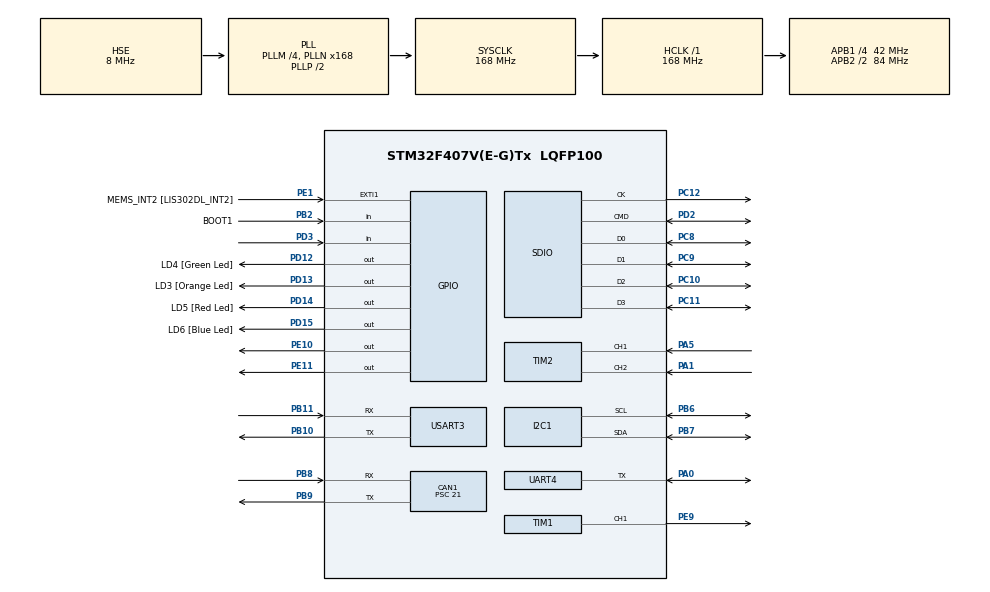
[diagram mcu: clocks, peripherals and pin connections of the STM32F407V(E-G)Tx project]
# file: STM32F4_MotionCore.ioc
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CAN1.ABOM=ENABLE
CAN1.BS1=CAN_BS1_13TQ
CAN1.BS2=CAN_BS2_2TQ
CAN1.CalculateBaudRate=125000
CAN1.CalculateTimeBit=8000
CAN1.CalculateTimeQuantum=500.0
CAN1.Mode=CAN_MODE_NORMAL
CAN1.NART=ENABLE
CAN1.Prescaler=21
Dma.I2C1_RX.5.Direction=DMA_PERIPH_TO_MEMORY
Dma.I2C1_RX.5.FIFOMode=DMA_FIFOMODE_DISABLE
Dma.I2C1_RX.5.Instance=DMA1_Stream0
Dma.I2C1_RX.5.MemDataAlignment=DMA_MDATAALIGN_BYTE
Dma.I2C1_RX.5.MemInc=DMA_MINC_ENABLE
Dma.I2C1_RX.5.Mode=DMA_NORMAL
Dma.I2C1_RX.5.PeriphDataAlignment=DMA_PDATAALIGN_BYTE
Dma.I2C1_RX.5.PeriphInc=DMA_PINC_DISABLE
Dma.I2C1_RX.5.Priority=DMA_PRIORITY_LOW
Dma.I2C1_TX.4.Direction=DMA_MEMORY_TO_PERIPH
Dma.I2C1_TX.4.FIFOMode=DMA_FIFOMODE_DISABLE
Dma.I2C1_TX.4.Instance=DMA1_Stream7
Dma.I2C1_TX.4.MemDataAlignment=DMA_MDATAALIGN_BYTE
Dma.I2C1_TX.4.MemInc=DMA_MINC_ENABLE
Dma.I2C1_TX.4.Mode=DMA_NORMAL
Dma.I2C1_TX.4.PeriphDataAlignment=DMA_PDATAALIGN_BYTE
Dma.I2C1_TX.4.PeriphInc=DMA_PINC_DISABLE
Dma.I2C1_TX.4.Priority=DMA_PRIORITY_LOW
Dma.Request0=SDIO_TX
Dma.Request1=SDIO_RX
Dma.Request2=USART3_TX
Dma.Request3=USART3_RX
Dma.Request4=I2C1_TX
Dma.Request5=I2C1_RX
Dma.Request6=UART4_TX
Dma.Request7=UART4_RX
Dma.SDIO_RX.1.Direction=DMA_PERIPH_TO_MEMORY
Dma.SDIO_RX.1.FIFOMode=DMA_FIFOMODE_ENABLE
Dma.SDIO_RX.1.FIFOThreshold=DMA_FIFO_THRESHOLD_FULL
Dma.SDIO_RX.1.Instance=DMA2_Stream6
Dma.SDIO_RX.1.MemBurst=DMA_MBURST_INC4
Dma.SDIO_RX.1.MemDataAlignment=DMA_MDATAALIGN_WORD
Dma.SDIO_RX.1.MemInc=DMA_MINC_ENABLE
Dma.SDIO_RX.1.Mode=DMA_PFCTRL
Dma.SDIO_RX.1.PeriphBurst=DMA_PBURST_INC4
Dma.SDIO_RX.1.PeriphDataAlignment=DMA_PDATAALIGN_WORD
Dma.SDIO_RX.1.PeriphInc=DMA_PINC_DISABLE
Dma.SDIO_RX.1.Priority=DMA_PRIORITY_LOW
Dma.SDIO_TX.0.Direction=DMA_MEMORY_TO_PERIPH
Dma.SDIO_TX.0.FIFOMode=DMA_FIFOMODE_ENABLE
Dma.SDIO_TX.0.FIFOThreshold=DMA_FIFO_THRESHOLD_FULL
Dma.SDIO_TX.0.Instance=DMA2_Stream3
Dma.SDIO_TX.0.MemBurst=DMA_MBURST_INC4
Dma.SDIO_TX.0.MemDataAlignment=DMA_MDATAALIGN_WORD
Dma.SDIO_TX.0.MemInc=DMA_MINC_ENABLE
Dma.SDIO_TX.0.Mode=DMA_PFCTRL
Dma.SDIO_TX.0.PeriphBurst=DMA_PBURST_INC4
Dma.SDIO_TX.0.PeriphDataAlignment=DMA_PDATAALIGN_WORD
Dma.SDIO_TX.0.PeriphInc=DMA_PINC_DISABLE
Dma.SDIO_TX.0.Priority=DMA_PRIORITY_LOW
Dma.UART4_RX.7.Direction=DMA_PERIPH_TO_MEMORY
Dma.UART4_RX.7.FIFOMode=DMA_FIFOMODE_DISABLE
Dma.UART4_RX.7.Instance=DMA1_Stream2
Dma.UART4_RX.7.MemDataAlignment=DMA_MDATAALIGN_BYTE
Dma.UART4_RX.7.MemInc=DMA_MINC_ENABLE
Dma.UART4_RX.7.Mode=DMA_NORMAL
Dma.UART4_RX.7.PeriphDataAlignment=DMA_PDATAALIGN_BYTE
Dma.UART4_RX.7.PeriphInc=DMA_PINC_DISABLE
Dma.UART4_RX.7.Priority=DMA_PRIORITY_LOW
Dma.UART4_TX.6.Direction=DMA_MEMORY_TO_PERIPH
Dma.UART4_TX.6.FIFOMode=DMA_FIFOMODE_DISABLE
Dma.UART4_TX.6.Instance=DMA1_Stream4
Dma.UART4_TX.6.MemDataAlignment=DMA_MDATAALIGN_BYTE
Dma.UART4_TX.6.MemInc=DMA_MINC_ENABLE
Dma.UART4_TX.6.Mode=DMA_NORMAL
Dma.UART4_TX.6.PeriphDataAlignment=DMA_PDATAALIGN_BYTE
Dma.UART4_TX.6.PeriphInc=DMA_PINC_DISABLE
Dma.UART4_TX.6.Priority=DMA_PRIORITY_LOW
Dma.USART3_RX.3.Direction=DMA_PERIPH_TO_MEMORY
Dma.USART3_RX.3.FIFOMode=DMA_FIFOMODE_DISABLE
Dma.USART3_RX.3.Instance=DMA1_Stream1
Dma.USART3_RX.3.MemDataAlignment=DMA_MDATAALIGN_BYTE
Dma.USART3_RX.3.MemInc=DMA_MINC_ENABLE
Dma.USART3_RX.3.Mode=DMA_NORMAL
Dma.USART3_RX.3.PeriphDataAlignment=DMA_PDATAALIGN_BYTE
Dma.USART3_RX.3.PeriphInc=DMA_PINC_DISABLE
Dma.USART3_RX.3.Priority=DMA_PRIORITY_LOW
Dma.USART3_TX.2.Direction=DMA_MEMORY_TO_PERIPH
Dma.USART3_TX.2.FIFOMode=DMA_FIFOMODE_DISABLE
Dma.USART3_TX.2.Instance=DMA1_Stream3
Dma.USART3_TX.2.MemDataAlignment=DMA_MDATAALIGN_BYTE
Dma.USART3_TX.2.MemInc=DMA_MINC_ENABLE
Dma.USART3_TX.2.Mode=DMA_NORMAL
Dma.USART3_TX.2.PeriphDataAlignment=DMA_PDATAALIGN_BYTE
Dma.USART3_TX.2.PeriphInc=DMA_PINC_DISABLE
Dma.USART3_TX.2.Priority=DMA_PRIORITY_LOW
IWDG.Prescaler=IWDG_PRESCALER_8
IWDG.Reload=4000
Mcu.Family=STM32F4
Mcu.Name=STM32F407V(E-G)Tx
Mcu.Package=LQFP100
NVIC.CAN1_RX0_IRQn=true\:6\:0\:true\:false\:true\:true\:true\:true
NVIC.CAN1_SCE_IRQn=true\:6\:0\:true\:false\:true\:true\:true\:true
NVIC.CAN1_TX_IRQn=true\:6\:0\:true\:false\:true\:true\:true\:true
NVIC.DMA1_Stream0_IRQn=true\:5\:0\:true\:false\:true\:false\:true\:true
NVIC.DMA1_Stream1_IRQn=true\:7\:0\:true\:false\:true\:false\:true\:true
NVIC.DMA1_Stream2_IRQn=true\:5\:0\:true\:false\:true\:false\:true\:true
NVIC.DMA1_Stream3_IRQn=true\:7\:0\:true\:false\:true\:false\:true\:true
NVIC.DMA1_Stream4_IRQn=true\:5\:0\:true\:false\:true\:false\:true\:true
NVIC.DMA1_Stream7_IRQn=true\:5\:0\:true\:false\:true\:false\:true\:true
NVIC.DMA2_Stream3_IRQn=true\:6\:0\:true\:false\:true\:false\:true\:true
NVIC.DMA2_Stream6_IRQn=true\:6\:0\:true\:false\:true\:false\:true\:true
NVIC.FPU_IRQn=true\:6\:0\:true\:false\:true\:true\:false\:true
NVIC.I2C1_ER_IRQn=true\:5\:0\:true\:false\:true\:true\:true\:true
NVIC.I2C1_EV_IRQn=true\:5\:0\:true\:false\:true\:true\:true\:true
NVIC.PriorityGroup=NVIC_PRIORITYGROUP_4
NVIC.SDIO_IRQn=true\:7\:0\:true\:false\:true\:true\:true\:true
NVIC.TIM6_DAC_IRQn=true\:6\:0\:true\:false\:true\:false\:true\:true
NVIC.TimeBase=TIM6_DAC_IRQn
NVIC.TimeBaseIP=TIM6
NVIC.UART4_IRQn=true\:5\:0\:true\:false\:true\:true\:true\:true
NVIC.USART3_IRQn=true\:7\:0\:true\:false\:true\:true\:true\:true
PA0-WKUP.GPIO_ModeDefaultOD=GPIO_MODE_AF_OD
PA0-WKUP.GPIO_ModeDefaultPP=GPIO_MODE_AF_OD
PA0-WKUP.GPIO_PuPd=GPIO_PULLUP
PA0-WKUP.Mode=Half_duplex(single_wire_mode)
PA0-WKUP.Signal=UART4_TX
PA1.Signal=S_TIM2_CH2
PA13.GPIO_Label=SWDIO
PA13.Mode=Serial_Wire
PA13.Signal=SYS_JTMS-SWDIO
PA14.GPIO_Label=SWCLK
PA14.Mode=Serial_Wire
PA14.Signal=SYS_JTCK-SWCLK
PA5.Signal=S_TIM2_CH1_ETR
PB10.Mode=Asynchronous
PB10.Signal=USART3_TX
PB11.Mode=Asynchronous
PB11.Signal=USART3_RX
PB2.GPIO_Label=BOOT1
PB2.GPIO_Mode=GPIO_MODE_INPUT
PB2.GPIO_PuPd=GPIO_NOPULL
PB2.Signal=GPIO_Input
PB6.Mode=I2C
PB6.Signal=I2C1_SCL
PB7.Mode=I2C
PB7.Signal=I2C1_SDA
PB8.GPIO_PuPd=GPIO_NOPULL
PB8.Mode=CAN_Activate
PB8.Signal=CAN1_RX
PB9.Mode=CAN_Activate
PB9.Signal=CAN1_TX
PC10.Mode=SD_4_bits_Wide_bus
PC10.Signal=SDIO_D2
PC11.Mode=SD_4_bits_Wide_bus
PC11.Signal=SDIO_D3
PC12.Mode=SD_4_bits_Wide_bus
PC12.Signal=SDIO_CK
PC8.GPIO_PuPd=GPIO_NOPULL
PC8.Mode=SD_4_bits_Wide_bus
PC8.Signal=SDIO_D0
PC9.Mode=SD_4_bits_Wide_bus
PC9.Signal=SDIO_D1
PD12.GPIO_Label=LD4 [Green Led]
PD12.GPIO_PuPd=GPIO_NOPULL
PD12.GPIO_Speed=GPIO_SPEED_FREQ_LOW
PD12.Signal=GPIO_Output
PD13.GPIO_Label=LD3 [Orange Led]
PD13.GPIO_PuPd=GPIO_NOPULL
PD13.GPIO_Speed=GPIO_SPEED_FREQ_LOW
PD13.Signal=GPIO_Output
PD14.GPIO_Label=LD5 [Red Led]
PD14.GPIO_PuPd=GPIO_NOPULL
PD14.GPIO_Speed=GPIO_SPEED_FREQ_LOW
PD14.Signal=GPIO_Output
PD15.GPIO_Label=LD6 [Blue Led]
PD15.GPIO_PuPd=GPIO_NOPULL
PD15.GPIO_Speed=GPIO_SPEED_FREQ_LOW
PD15.Signal=GPIO_Output
PD2.GPIO_PuPd=GPIO_NOPULL
PD2.Mode=SD_4_bits_Wide_bus
PD2.Signal=SDIO_CMD
PD3.Signal=GPIO_Input
PE1.GPIO_Label=MEMS_INT2 [LIS302DL_INT2]
PE1.GPIO_ModeDefaultEXTI=GPIO_MODE_EVT_RISING
PE1.GPIO_PuPd=GPIO_NOPULL
PE1.Signal=GPXTI1
PE10.Signal=GPIO_Output
PE11.Signal=GPIO_Output
PE9.Signal=S_TIM1_CH1
PH0-OSC_IN.Mode=HSE-External-Oscillator
PH0-OSC_IN.Signal=RCC_OSC_IN
PH1-OSC_OUT.Mode=HSE-External-Oscillator
PH1-OSC_OUT.Signal=RCC_OSC_OUT
ProjectManager.HeapSize=0x400
ProjectManager.StackSize=0x800
ProjectManager.TargetToolchain=STM32CubeIDE
RCC.48MHZClocksFreq_Value=48000000
RCC.AHBFreq_Value=168000000
RCC.APB1CLKDivider=RCC_HCLK_DIV4
RCC.APB1Freq_Value=42000000
RCC.APB1TimFreq_Value=84000000
RCC.APB2CLKDivider=RCC_HCLK_DIV2
RCC.APB2Freq_Value=84000000
RCC.APB2TimFreq_Value=168000000
RCC.CortexFreq_Value=168000000
RCC.HCLKFreq_Value=168000000
RCC.HSE_VALUE=8000000
RCC.HSI_VALUE=16000000
RCC.LSE_VALUE=32768
RCC.PLLM=4
RCC.PLLN=168
RCC.PLLQ=7
RCC.PLLSourceVirtual=RCC_PLLSOURCE_HSE
RCC.RCC_MCO1Source=RCC_MCO1SOURCE_PLLCLK
RCC.RCC_RTC_Clock_Source=RCC_RTCCLKSOURCE_LSI
RCC.RCC_RTC_Clock_SourceVirtual=RCC_RTCCLKSOURCE_LSE
RCC.RCC_RTC_Clock_Source_FROM_HSE=RCC_RTCCLKSOURCE_HSE_DIV31
RCC.SYSCLKFreq_VALUE=168000000
RCC.SYSCLKSource=RCC_SYSCLKSOURCE_PLLCLK
RCC.VCOOutputFreq_Value=336000000
RTC.Format=RTC_FORMAT_BIN
SDIO.ClockDiv=0
SH.S_TIM1_CH1.0=TIM1_CH1,PWM Generation1 CH1
SH.S_TIM2_CH1_ETR.0=TIM2_CH1,Encoder_Interface
SH.S_TIM2_CH2.0=TIM2_CH2,Encoder_Interface
TIM1.Channel-PWM\ Generation1\ CH1=TIM_CHANNEL_1
TIM1.Period=8399
UART4.VirtualMode=Asynchronous
USART3.VirtualMode=VM_ASYNC
VP_IWDG_VS_IWDG.Mode=IWDG_Activate
VP_RTC_VS_RTC_Activate.Mode=RTC_Enabled
VP_RTC_VS_RTC_Calendar.Mode=RTC_Calendar
VP_SYS_VS_tim6.Mode=TIM6
VP_TIM1_VS_ClockSourceINT.Mode=Internal
board=STM32F407G-DISC1

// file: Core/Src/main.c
/* USER CODE BEGIN Header */
/**
 ******************************************************************************
 * @file           : main.c
 * @brief          : Main program body
 ******************************************************************************
 * @attention
 *
 * Copyright (c) 2026 STMicroelectronics.
 * All rights reserved.
 *
 * This software is licensed under terms that can be found in the LICENSE file
 * in the root directory of this software component.
 * If no LICENSE file comes with this software, it is provided AS-IS.
 *
 ******************************************************************************
 */
/* USER CODE END Header */
#include "main.h"

CAN_HandleTypeDef hcan1;

I2C_HandleTypeDef hi2c1;
DMA_HandleTypeDef hdma_i2c1_tx;
DMA_HandleTypeDef hdma_i2c1_rx;

IWDG_HandleTypeDef hiwdg;

RTC_HandleTypeDef hrtc;

SD_HandleTypeDef hsd;
DMA_HandleTypeDef hdma_sdio_tx;
DMA_HandleTypeDef hdma_sdio_rx;

TIM_HandleTypeDef htim1;
TIM_HandleTypeDef htim2;

UART_HandleTypeDef huart4;
UART_HandleTypeDef huart3;
DMA_HandleTypeDef hdma_uart4_tx;
DMA_HandleTypeDef hdma_uart4_rx;
DMA_HandleTypeDef hdma_usart3_tx;
DMA_HandleTypeDef hdma_usart3_rx;

void SystemClock_Config(void);
static void MX_GPIO_Init(void);
static void MX_DMA_Init(void);
static void MX_SDIO_SD_Init(void);
static void MX_USART3_UART_Init(void);
static void MX_I2C1_Init(void);
static void MX_UART4_Init(void);
static void MX_RTC_Init(void);
static void MX_IWDG_Init(void);
static void MX_TIM1_Init(void);
static void MX_CAN1_Init(void);
static void MX_TIM2_Init(void);

/* USER CODE BEGIN 0 */

/* DWT to control DWT cycle buffer, which need for SEGGER  */
#define DWT_CTRL (*(volatile uint32_t*)0xE0001000)

/* USER CODE END 0 */

int main(void)
{

  /* MCU Configuration--------------------------------------------------------*/

  /* Reset of all peripherals, Initializes the Flash interface and the Systick. */
  HAL_Init();

  /* USER CODE BEGIN Init */

  /* Set for SEGGER proper work */
  NVIC_SetPriorityGrouping(0);

  /* USER CODE END Init */

  /* Configure the system clock */
  SystemClock_Config();

  /* Initialize all configured peripherals */
  MX_GPIO_Init();
  MX_DMA_Init();
  MX_SDIO_SD_Init();
  MX_USART3_UART_Init();
  MX_I2C1_Init();
  MX_UART4_Init();
  MX_RTC_Init();
 // MX_IWDG_Init();
  MX_TIM1_Init();
  MX_CAN1_Init();
  MX_TIM2_Init();
  /* USER CODE BEGIN 2 */

	/* Set one to enable DWT cycle buffer which is necessary for SEGGER */
	DWT_CTRL |= (1 << 0);
	CoreDebug->DEMCR |= CoreDebug_DEMCR_TRCENA_Msk;
	DWT->CTRL |= DWT_CTRL_CYCCNTENA_Msk;

	HAL_Delay(500);

	AppHardwareConfig_t app_hw =
	{
		.phsd = &hsd,
		.phuart3 = &huart3,
		.phuart4 = &huart4,
		.phi2c1 = &hi2c1,
		.phiwdg = &hiwdg,
		.prtc = &hrtc,
		.ptim1 = &htim1,
		.ptim2 = &htim2,
		.pcan1 = &hcan1
	};

	APP_Main(&app_hw);

  /* USER CODE END 2 */

  /* Infinite loop */
	while (1) {

	}
}

void SystemClock_Config(void)
{
  RCC_OscInitTypeDef RCC_OscInitStruct = {0};
  RCC_ClkInitTypeDef RCC_ClkInitStruct = {0};

  /** Configure the main internal regulator output voltage
  */
  __HAL_RCC_PWR_CLK_ENABLE();
  __HAL_PWR_VOLTAGESCALING_CONFIG(PWR_REGULATOR_VOLTAGE_SCALE1);

  /** Initializes the RCC Oscillators according to the specified parameters
  * in the RCC_OscInitTypeDef structure.
  */
  RCC_OscInitStruct.OscillatorType = RCC_OSCILLATORTYPE_LSI|RCC_OSCILLATORTYPE_HSE;
  RCC_OscInitStruct.HSEState = RCC_HSE_ON;
  RCC_OscInitStruct.LSIState = RCC_LSI_ON;
  RCC_OscInitStruct.PLL.PLLState = RCC_PLL_ON;
  RCC_OscInitStruct.PLL.PLLSource = RCC_PLLSOURCE_HSE;
  RCC_OscInitStruct.PLL.PLLM = 4;
  RCC_OscInitStruct.PLL.PLLN = 168;
  RCC_OscInitStruct.PLL.PLLP = RCC_PLLP_DIV2;
  RCC_OscInitStruct.PLL.PLLQ = 7;
  if (HAL_RCC_OscConfig(&RCC_OscInitStruct) != HAL_OK)
  {
    Error_Handler();
  }

  /** Initializes the CPU, AHB and APB buses clocks
  */
  RCC_ClkInitStruct.ClockType = RCC_CLOCKTYPE_HCLK|RCC_CLOCKTYPE_SYSCLK
                              |RCC_CLOCKTYPE_PCLK1|RCC_CLOCKTYPE_PCLK2;
  RCC_ClkInitStruct.SYSCLKSource = RCC_SYSCLKSOURCE_PLLCLK;
  RCC_ClkInitStruct.AHBCLKDivider = RCC_SYSCLK_DIV1;
  RCC_ClkInitStruct.APB1CLKDivider = RCC_HCLK_DIV4;
  RCC_ClkInitStruct.APB2CLKDivider = RCC_HCLK_DIV2;

  if (HAL_RCC_ClockConfig(&RCC_ClkInitStruct, FLASH_LATENCY_5) != HAL_OK)
  {
    Error_Handler();
  }
}

static void MX_CAN1_Init(void)
{

  hcan1.Instance = CAN1;
  hcan1.Init.Prescaler = 21;
  hcan1.Init.Mode = CAN_MODE_NORMAL;
  hcan1.Init.SyncJumpWidth = CAN_SJW_1TQ;
  hcan1.Init.TimeSeg1 = CAN_BS1_13TQ;
  hcan1.Init.TimeSeg2 = CAN_BS2_2TQ;
  hcan1.Init.TimeTriggeredMode = DISABLE;
  hcan1.Init.AutoBusOff = ENABLE;
  hcan1.Init.AutoWakeUp = DISABLE;
  hcan1.Init.AutoRetransmission = ENABLE;
  hcan1.Init.ReceiveFifoLocked = DISABLE;
  hcan1.Init.TransmitFifoPriority = DISABLE;
  if (HAL_CAN_Init(&hcan1) != HAL_OK)
  {
    Error_Handler();
  }

}

static void MX_I2C1_Init(void)
{

  hi2c1.Instance = I2C1;
  hi2c1.Init.ClockSpeed = 100000;
  hi2c1.Init.DutyCycle = I2C_DUTYCYCLE_2;
  hi2c1.Init.OwnAddress1 = 0;
  hi2c1.Init.AddressingMode = I2C_ADDRESSINGMODE_7BIT;
  hi2c1.Init.DualAddressMode = I2C_DUALADDRESS_DISABLE;
  hi2c1.Init.OwnAddress2 = 0;
  hi2c1.Init.GeneralCallMode = I2C_GENERALCALL_DISABLE;
  hi2c1.Init.NoStretchMode = I2C_NOSTRETCH_DISABLE;
  if (HAL_I2C_Init(&hi2c1) != HAL_OK)
  {
    Error_Handler();
  }

}

static void MX_IWDG_Init(void)
{

  hiwdg.Instance = IWDG;
  hiwdg.Init.Prescaler = IWDG_PRESCALER_8;
  hiwdg.Init.Reload = 4000;
  if (HAL_IWDG_Init(&hiwdg) != HAL_OK)
  {
    Error_Handler();
  }

}

static void MX_RTC_Init(void)
{

  RTC_TimeTypeDef sTime = {0};
  RTC_DateTypeDef sDate = {0};

  /** Initialize RTC Only
  */
  hrtc.Instance = RTC;
  hrtc.Init.HourFormat = RTC_HOURFORMAT_24;
  hrtc.Init.AsynchPrediv = 127;
  hrtc.Init.SynchPrediv = 255;
  hrtc.Init.OutPut = RTC_OUTPUT_DISABLE;
  hrtc.Init.OutPutPolarity = RTC_OUTPUT_POLARITY_HIGH;
  hrtc.Init.OutPutType = RTC_OUTPUT_TYPE_OPENDRAIN;
  if (HAL_RTC_Init(&hrtc) != HAL_OK)
  {
    Error_Handler();
  }

  /** Initialize RTC and set the Time and Date
  */
  sTime.Hours = 0;
  sTime.Minutes = 0;
  sTime.Seconds = 0;
  sTime.DayLightSaving = RTC_DAYLIGHTSAVING_NONE;
  sTime.StoreOperation = RTC_STOREOPERATION_RESET;
  if (HAL_RTC_SetTime(&hrtc, &sTime, RTC_FORMAT_BIN) != HAL_OK)
  {
    Error_Handler();
  }
  sDate.WeekDay = RTC_WEEKDAY_MONDAY;
  sDate.Month = RTC_MONTH_JANUARY;
  sDate.Date = 1;
  sDate.Year = 0;

  if (HAL_RTC_SetDate(&hrtc, &sDate, RTC_FORMAT_BIN) != HAL_OK)
  {
    Error_Handler();
  }

}

static void MX_SDIO_SD_Init(void)
{

  hsd.Instance = SDIO;
  hsd.Init.ClockEdge = SDIO_CLOCK_EDGE_RISING;
  hsd.Init.ClockBypass = SDIO_CLOCK_BYPASS_DISABLE;
  hsd.Init.ClockPowerSave = SDIO_CLOCK_POWER_SAVE_DISABLE;
  hsd.Init.BusWide = SDIO_BUS_WIDE_1B;
  hsd.Init.HardwareFlowControl = SDIO_HARDWARE_FLOW_CONTROL_DISABLE;
  hsd.Init.ClockDiv = 0;
  if (HAL_SD_Init(&hsd) != HAL_OK)
  {
    Error_Handler();
  }
  if (HAL_SD_ConfigWideBusOperation(&hsd, SDIO_BUS_WIDE_4B) != HAL_OK)
  {
    Error_Handler();
  }

}

static void MX_TIM1_Init(void)
{

  TIM_ClockConfigTypeDef sClockSourceConfig = {0};
  TIM_MasterConfigTypeDef sMasterConfig = {0};
  TIM_OC_InitTypeDef sConfigOC = {0};
  TIM_BreakDeadTimeConfigTypeDef sBreakDeadTimeConfig = {0};

  htim1.Instance = TIM1;
  htim1.Init.Prescaler = 0;
  htim1.Init.CounterMode = TIM_COUNTERMODE_UP;
  htim1.Init.Period = 8399;
  htim1.Init.ClockDivision = TIM_CLOCKDIVISION_DIV1;
  htim1.Init.RepetitionCounter = 0;
  htim1.Init.AutoReloadPreload = TIM_AUTORELOAD_PRELOAD_DISABLE;
  if (HAL_TIM_Base_Init(&htim1) != HAL_OK)
  {
    Error_Handler();
  }
  sClockSourceConfig.ClockSource = TIM_CLOCKSOURCE_INTERNAL;
  if (HAL_TIM_ConfigClockSource(&htim1, &sClockSourceConfig) != HAL_OK)
  {
    Error_Handler();
  }
  if (HAL_TIM_PWM_Init(&htim1) != HAL_OK)
  {
    Error_Handler();
  }
  sMasterConfig.MasterOutputTrigger = TIM_TRGO_RESET;
  sMasterConfig.MasterSlaveMode = TIM_MASTERSLAVEMODE_DISABLE;
  if (HAL_TIMEx_MasterConfigSynchronization(&htim1, &sMasterConfig) != HAL_OK)
  {
    Error_Handler();
  }
  sConfigOC.OCMode = TIM_OCMODE_PWM1;
  sConfigOC.Pulse = 0;
  sConfigOC.OCPolarity = TIM_OCPOLARITY_HIGH;
  sConfigOC.OCNPolarity = TIM_OCNPOLARITY_HIGH;
  sConfigOC.OCFastMode = TIM_OCFAST_DISABLE;
  sConfigOC.OCIdleState = TIM_OCIDLESTATE_RESET;
  sConfigOC.OCNIdleState = TIM_OCNIDLESTATE_RESET;
  if (HAL_TIM_PWM_ConfigChannel(&htim1, &sConfigOC, TIM_CHANNEL_1) != HAL_OK)
  {
    Error_Handler();
  }
  sBreakDeadTimeConfig.OffStateRunMode = TIM_OSSR_DISABLE;
  sBreakDeadTimeConfig.OffStateIDLEMode = TIM_OSSI_DISABLE;
  sBreakDeadTimeConfig.LockLevel = TIM_LOCKLEVEL_OFF;
  sBreakDeadTimeConfig.DeadTime = 0;
  sBreakDeadTimeConfig.BreakState = TIM_BREAK_DISABLE;
  sBreakDeadTimeConfig.BreakPolarity = TIM_BREAKPOLARITY_HIGH;
  sBreakDeadTimeConfig.AutomaticOutput = TIM_AUTOMATICOUTPUT_DISABLE;
  if (HAL_TIMEx_ConfigBreakDeadTime(&htim1, &sBreakDeadTimeConfig) != HAL_OK)
  {
    Error_Handler();
  }
  HAL_TIM_MspPostInit(&htim1);

}

static void MX_TIM2_Init(void)
{

  TIM_Encoder_InitTypeDef sConfig = {0};
  TIM_MasterConfigTypeDef sMasterConfig = {0};

  htim2.Instance = TIM2;
  htim2.Init.Prescaler = 0;
  htim2.Init.CounterMode = TIM_COUNTERMODE_UP;
  htim2.Init.Period = 4294967295;
  htim2.Init.ClockDivision = TIM_CLOCKDIVISION_DIV1;
  htim2.Init.AutoReloadPreload = TIM_AUTORELOAD_PRELOAD_DISABLE;
  sConfig.EncoderMode = TIM_ENCODERMODE_TI1;
  sConfig.IC1Polarity = TIM_ICPOLARITY_RISING;
  sConfig.IC1Selection = TIM_ICSELECTION_DIRECTTI;
  sConfig.IC1Prescaler = TIM_ICPSC_DIV1;
  sConfig.IC1Filter = 0;
  sConfig.IC2Polarity = TIM_ICPOLARITY_RISING;
  sConfig.IC2Selection = TIM_ICSELECTION_DIRECTTI;
  sConfig.IC2Prescaler = TIM_ICPSC_DIV1;
  sConfig.IC2Filter = 0;
  if (HAL_TIM_Encoder_Init(&htim2, &sConfig) != HAL_OK)
  {
    Error_Handler();
  }
  sMasterConfig.MasterOutputTrigger = TIM_TRGO_RESET;
  sMasterConfig.MasterSlaveMode = TIM_MASTERSLAVEMODE_DISABLE;
  if (HAL_TIMEx_MasterConfigSynchronization(&htim2, &sMasterConfig) != HAL_OK)
  {
    Error_Handler();
  }

}

static void MX_UART4_Init(void)
{

  huart4.Instance = UART4;
  huart4.Init.BaudRate = 115200;
  huart4.Init.WordLength = UART_WORDLENGTH_8B;
  huart4.Init.StopBits = UART_STOPBITS_1;
  huart4.Init.Parity = UART_PARITY_NONE;
  huart4.Init.Mode = UART_MODE_TX_RX;
  huart4.Init.HwFlowCtl = UART_HWCONTROL_NONE;
  huart4.Init.OverSampling = UART_OVERSAMPLING_16;
  if (HAL_HalfDuplex_Init(&huart4) != HAL_OK)
  {
    Error_Handler();
  }

}

static void MX_USART3_UART_Init(void)
{

  huart3.Instance = USART3;
  huart3.Init.BaudRate = 115200;
  huart3.Init.WordLength = UART_WORDLENGTH_8B;
  huart3.Init.StopBits = UART_STOPBITS_1;
  huart3.Init.Parity = UART_PARITY_NONE;
  huart3.Init.Mode = UART_MODE_TX_RX;
  huart3.Init.HwFlowCtl = UART_HWCONTROL_NONE;
  huart3.Init.OverSampling = UART_OVERSAMPLING_16;
  if (HAL_UART_Init(&huart3) != HAL_OK)
  {
    Error_Handler();
  }

}

static void MX_DMA_Init(void)
{

  /* DMA controller clock enable */
  __HAL_RCC_DMA2_CLK_ENABLE();
  __HAL_RCC_DMA1_CLK_ENABLE();

  /* DMA interrupt init */
  /* DMA1_Stream0_IRQn interrupt configuration */
  HAL_NVIC_SetPriority(DMA1_Stream0_IRQn, 5, 0);
  HAL_NVIC_EnableIRQ(DMA1_Stream0_IRQn);
  /* DMA1_Stream1_IRQn interrupt configuration */
  HAL_NVIC_SetPriority(DMA1_Stream1_IRQn, 7, 0);
  HAL_NVIC_EnableIRQ(DMA1_Stream1_IRQn);
  /* DMA1_Stream2_IRQn interrupt configuration */
  HAL_NVIC_SetPriority(DMA1_Stream2_IRQn, 5, 0);
  HAL_NVIC_EnableIRQ(DMA1_Stream2_IRQn);
  /* DMA1_Stream3_IRQn interrupt configuration */
  HAL_NVIC_SetPriority(DMA1_Stream3_IRQn, 7, 0);
  HAL_NVIC_EnableIRQ(DMA1_Stream3_IRQn);
  /* DMA1_Stream4_IRQn interrupt configuration */
  HAL_NVIC_SetPriority(DMA1_Stream4_IRQn, 5, 0);
  HAL_NVIC_EnableIRQ(DMA1_Stream4_IRQn);
  /* DMA1_Stream7_IRQn interrupt configuration */
  HAL_NVIC_SetPriority(DMA1_Stream7_IRQn, 5, 0);
  HAL_NVIC_EnableIRQ(DMA1_Stream7_IRQn);
  /* DMA2_Stream3_IRQn interrupt configuration */
  HAL_NVIC_SetPriority(DMA2_Stream3_IRQn, 6, 0);
  HAL_NVIC_EnableIRQ(DMA2_Stream3_IRQn);
  /* DMA2_Stream6_IRQn interrupt configuration */
  HAL_NVIC_SetPriority(DMA2_Stream6_IRQn, 6, 0);
  HAL_NVIC_EnableIRQ(DMA2_Stream6_IRQn);

}

static void MX_GPIO_Init(void)
{
  GPIO_InitTypeDef GPIO_InitStruct = {0};

  /* GPIO Ports Clock Enable */
  __HAL_RCC_GPIOH_CLK_ENABLE();
  __HAL_RCC_GPIOA_CLK_ENABLE();
  __HAL_RCC_GPIOB_CLK_ENABLE();
  __HAL_RCC_GPIOE_CLK_ENABLE();
  __HAL_RCC_GPIOD_CLK_ENABLE();
  __HAL_RCC_GPIOC_CLK_ENABLE();

  /*Configure GPIO pin Output Level */
  HAL_GPIO_WritePin(GPIOE, GPIO_PIN_10|GPIO_PIN_11, GPIO_PIN_RESET);

  /*Configure GPIO pin Output Level */
  HAL_GPIO_WritePin(GPIOD, LD4_Pin|LD3_Pin|LD5_Pin|LD6_Pin, GPIO_PIN_RESET);

  /*Configure GPIO pin : BOOT1_Pin */
  GPIO_InitStruct.Pin = BOOT1_Pin;
  GPIO_InitStruct.Mode = GPIO_MODE_INPUT;
  GPIO_InitStruct.Pull = GPIO_NOPULL;
  HAL_GPIO_Init(BOOT1_GPIO_Port, &GPIO_InitStruct);

  /*Configure GPIO pins : PE10 PE11 */
  GPIO_InitStruct.Pin = GPIO_PIN_10|GPIO_PIN_11;
  GPIO_InitStruct.Mode = GPIO_MODE_OUTPUT_PP;
  GPIO_InitStruct.Pull = GPIO_NOPULL;
  GPIO_InitStruct.Speed = GPIO_SPEED_FREQ_LOW;
  HAL_GPIO_Init(GPIOE, &GPIO_InitStruct);

  /*Configure GPIO pins : LD4_Pin LD3_Pin LD5_Pin LD6_Pin */
  GPIO_InitStruct.Pin = LD4_Pin|LD3_Pin|LD5_Pin|LD6_Pin;
  GPIO_InitStruct.Mode = GPIO_MODE_OUTPUT_PP;
  GPIO_InitStruct.Pull = GPIO_NOPULL;
  GPIO_InitStruct.Speed = GPIO_SPEED_FREQ_LOW;
  HAL_GPIO_Init(GPIOD, &GPIO_InitStruct);

  /*Configure GPIO pin : PD3 */
  GPIO_InitStruct.Pin = GPIO_PIN_3;
  GPIO_InitStruct.Mode = GPIO_MODE_INPUT;
  GPIO_InitStruct.Pull = GPIO_NOPULL;
  HAL_GPIO_Init(GPIOD, &GPIO_InitStruct);

  /*Configure GPIO pin : MEMS_INT2_Pin */
  GPIO_InitStruct.Pin = MEMS_INT2_Pin;
  GPIO_InitStruct.Mode = GPIO_MODE_EVT_RISING;
  GPIO_InitStruct.Pull = GPIO_NOPULL;
  HAL_GPIO_Init(MEMS_INT2_GPIO_Port, &GPIO_InitStruct);

}

void HAL_TIM_PeriodElapsedCallback(TIM_HandleTypeDef *htim)
{
  if (htim->Instance == TIM6) {
    HAL_IncTick();
  }
}

void Error_Handler(void)
{
	__disable_irq();
	while (1) {
	}
}
